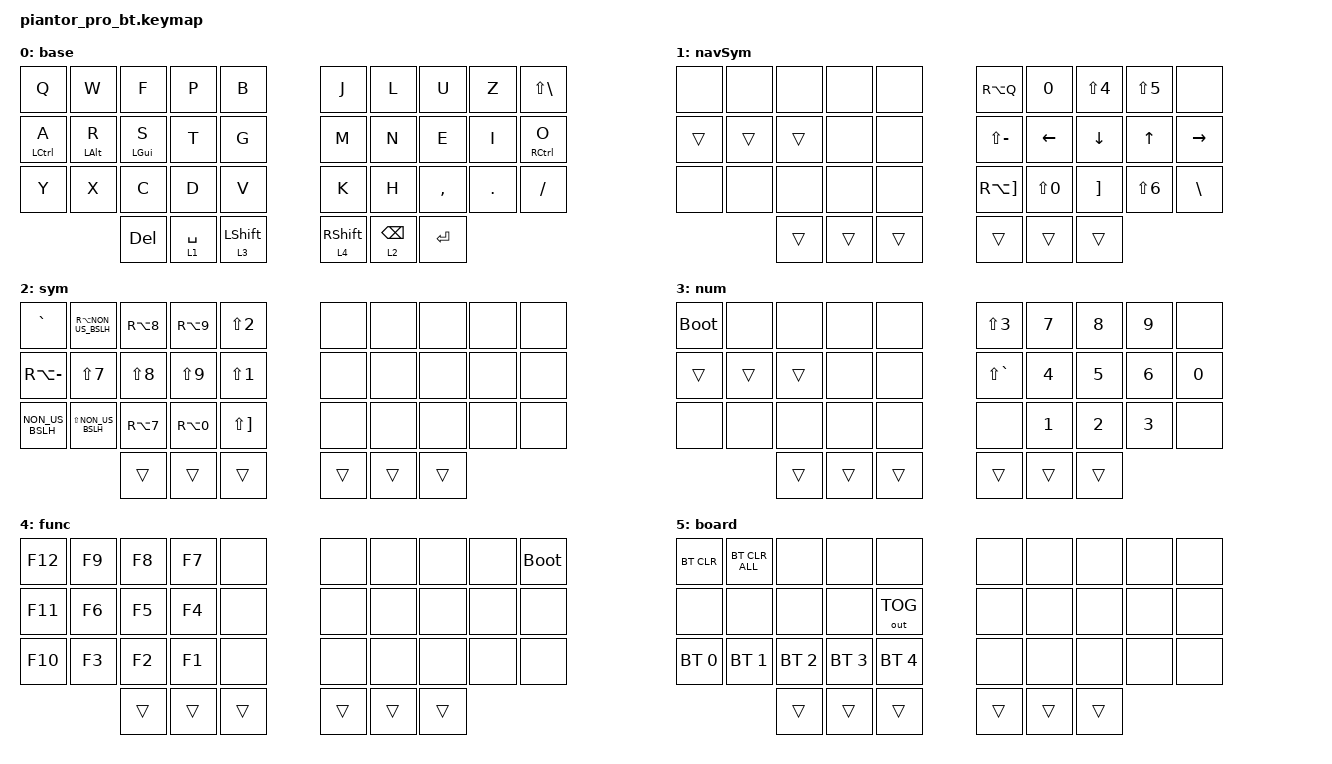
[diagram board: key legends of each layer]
/*
 * Copyright (c) 2020 The ZMK Contributors
 *
 * SPDX-License-Identifier: MIT
 */

#include <behaviors.dtsi>

#include <dt-bindings/zmk/bt.h>
#include <dt-bindings/zmk/keys.h>
#include <dt-bindings/zmk/outputs.h>

// Note: This is a keymap for a German layout
// The key codes are based on US ANSI, ZMK default

// Layer IDs
#define LAYER_Base 0
#define LAYER_NavSym 1
#define LAYER_Sym 2
#define LAYER_Num 3
#define LAYER_Func 4
#define LAYER_Board 5

#define xxx &none
#define ___ &trans

// Behaviors
/ {
    chosen { zmk,physical-layout = &five_col_layout; };

    behaviors {

        // Home row mods 
        hrm: hrm {
            compatible = "zmk,behavior-hold-tap";
            #binding-cells = <2>;
            tapping-term-ms = <280>;
            bindings = <&kp>, <&kp>;
            flavor = "balanced";
            quick-tap-ms = <175>;
            require-prior-idle-ms = <150>;
            hold-trigger-on-release;
        };

        // Layer and tap 
        lat: lat {
            compatible = "zmk,behavior-hold-tap";
            #binding-cells = <2>;
            tapping-term-ms = <200>;
            bindings = <&mo>, <&kp>;
            flavor = "tap-preferred";
            quick-tap-ms = <200>;
        };

        // Layer and sticky key 
        lask: lask {
            compatible = "zmk,behavior-hold-tap";
            #binding-cells = <2>;
            tapping-term-ms = <200>;
            bindings = <&mo>, <&sk>;
            flavor = "tap-preferred";
        };
    };
};

// ----------------------------------------------------------------------------
// |   0  |   1  |   2  |   3  |   4  |   |   5  |   6  |   7  |   8  |   9  |
// |  10  |  11  |  12  |  13  |  14  |   |  15  |  16  |  17  |  18  |  19  |
// |  20  |  21  |  22  |  23  |  24  |   |  25  |  26  |  27  |  28  |  29  |
//                     | 30 | 31 | 32 |   | 33 | 34 | 35 |

// Combos
/ {
      combos {
        compatible = "zmk,combos";
                  
        combo_umls {
            key-positions = <2 3>;
            bindings = <&kp MINUS>;
            layers = <0>;
        };

        combo_umlu {
            key-positions = <6 7>;
            bindings = <&kp LBKT>;
            layers = <0>;
        };

        combo_esc {
            key-positions = <22 23>;
            bindings = <&kp ESC>;
            require-prior-idle-ms = <150>;
            layers = <0>;
        };

        combo_board {
            key-positions = <30 31>;
            bindings = <&mo 5>;
            require-prior-idle-ms = <150>;
            layers = <0>;
        };

        combo_scrnsht {
            key-positions = <0 1>;
            bindings = <&kp LC(LA(N4))>;
            require-prior-idle-ms = <150>;
            layers = <0>;
        };

        combo_tab {
            key-positions = <21 22>;
            bindings = <&kp TAB>;
            require-prior-idle-ms = <150>;
            layers = <0>;
        };

        combo_umla {
            key-positions = <1 2>;
            bindings = <&kp SQT>;
            layers = <0>;
        };

        combo_umlo {
            key-positions = <7 8>;
            bindings = <&kp SEMI>;
            layers = <0>;
        };

        combo_capsWord {
            key-positions = <32 33>;
            bindings = <&caps_word>;
            layers = <0>;
        };

        combo_quote {
            key-positions = <27 28>;
            bindings = <&kp LS(N2)>;
            layers = <0>;
        };

        combo_question {
            key-positions = <26 28>;
            bindings = <&kp LS(MINUS)>;
            layers = <0>;
        };

        combo_exclamation {
            key-positions = <21 23>;
            bindings = <&kp LS(N1)>;
            layers = <0>;
        };

      };
    };

&sk {
    quick-release;
};

/ {
    keymap {
      compatible = "zmk,keymap";

      layer_Base {
         display-name = "base";
// --------------------------------------------------------------------
// |  Q  |  W  |  F  |  P  |  B  |   |  J  |  L  |  U  |  Y  |  '  |
// |  A  |  R  |  S  |  T  |  G  |   |  M  |  N  |  E  |  I  |  O  |
// |  Z  |  X  |  C  |  D  |  V  |   |  K  |  H  |  ,  |  .  |  -  |
//                 | DEL | SPC | LSH |     | RSH | BKS  | ENT |
   bindings = <
   //╭──────────────┬──────────────┬──────────────┬──────────────┬──────────────╮     ╭──────────────┬──────────────┬──────────────┬──────────────┬──────────────╮
      &kp Q          &kp W          &kp F          &kp P          &kp B                &kp J          &kp L          &kp U          &kp Z          &kp LS(BSLH)
   //├──────────────┼──────────────┼──────────────┼──────────────┼──────────────┤     ├──────────────┼──────────────┼──────────────┼──────────────┼──────────────┤
      &hrm LCTRL A   &hrm LALT R    &hrm LGUI S    &kp T          &kp G                &kp M          &kp N          &kp E          &kp I          &hrm RCTRL O
   //├──────────────┼──────────────┼──────────────┼──────────────┼──────────────┤     ├──────────────┼──────────────┼──────────────┼──────────────┼──────────────┤
      &kp Y          &kp X          &kp C          &kp D          &kp V                &kp K          &kp H          &kp COMMA      &kp DOT        &kp FSLH
   //╰──────────────┴──────────────┼──────────────┼──────────────┼──────────────┤     ├──────────────┼──────────────┼──────────────┼──────────────┴──────────────╯
                                    &kp DEL        &lat 1 SPACE   &lask 3 LSHFT        &lask 4 RSHFT  &lat 2 BSPC    &kp RET
   //                              ╰──────────────┴──────────────┴──────────────╯     ╰──────────────┴──────────────┴──────────────╯
   >;
    };

      layer_NavSym {
         display-name = "navSym";
// --------------------------------------------------------------------
// |  x  |  x  |  x  |  x  |  x  |   |  @  |   0  |   $  |  %  |   x   |
// |  -  |  -  |  -  |  x  |  x  |   |  ?  | left | down |  up | right |
// |  x  |  x  |  x  |  x  |  x  |   |  ~  |   =  |   +  |  &  |   #   |
//                   | - | - | - |   | - | - | - |
   bindings = <
   //╭──────────────┬──────────────┬──────────────┬──────────────┬──────────────╮     ╭──────────────┬──────────────┬──────────────┬──────────────┬──────────────╮
      xxx            xxx            xxx            xxx            xxx                  &kp RA(Q)      &kp N0         &kp LS(N4)     &kp LS(N5)     xxx
   //├──────────────┼──────────────┼──────────────┼──────────────┼──────────────┤     ├──────────────┼──────────────┼──────────────┼──────────────┼──────────────┤
      ___            ___            ___            xxx            xxx                  &kp LS(MINUS)  &kp LEFT       &kp DOWN       &kp UP         &kp RIGHT
   //├──────────────┼──────────────┼──────────────┼──────────────┼──────────────┤     ├──────────────┼──────────────┼──────────────┼──────────────┼──────────────┤
      xxx            xxx            xxx            xxx            xxx                  &kp RA(RBKT)   &kp LS(N0)     &kp RBKT       &kp LS(N6)     &kp BSLH
   //╰──────────────┴──────────────┼──────────────┼──────────────┼──────────────┤     ├──────────────┼──────────────┼──────────────┼──────────────┴──────────────╯
                                    ___            ___            ___                  ___            ___            ___
   //                              ╰──────────────┴──────────────┴──────────────╯     ╰──────────────┴──────────────┴──────────────╯
   >;
    };

      layer_Sym {
         display-name = "sym";
// --------------------------------------------------------------------
// |  ^  |  |  |  [  |  ]  |  "  |   |  x  |  x  |  x  |  x  |  x  |
// |  \  |  /  |  (  |  )  |  !  |   |  x  |  x  |  x  |  x  |  x  |
// |  <  |  >  |  {  |  }  |  *  |   |  x  |  x  |  x  |  x  |  x  |
//                   | - | - | - |   | - | - | - |
   bindings = <
   //╭──────────────┬──────────────┬──────────────┬──────────────┬──────────────╮     ╭──────────────┬──────────────┬──────────────┬──────────────┬──────────────╮
      &kp GRAVE      &kp RA(NON_US_BSLH) &kp RA(N8) &kp RA(N9)    &kp LS(N2)           xxx            xxx            xxx            xxx            xxx 
   //├──────────────┼──────────────┼──────────────┼──────────────┼──────────────┤     ├──────────────┼──────────────┼──────────────┼──────────────┼──────────────┤
      &kp RA(MINUS)  &kp LS(N7)     &kp LS(N8)     &kp LS(N9)     &kp LS(N1)           xxx            xxx            xxx            xxx            xxx
   //├──────────────┼──────────────┼──────────────┼──────────────┼──────────────┤     ├──────────────┼──────────────┼──────────────┼──────────────┼──────────────┤
      &kp NON_US_BSLH &kp LS(NON_US_BSLH) &kp RA(N7) &kp RA(N0)   &kp LS(RBKT)         xxx            xxx            xxx            xxx            xxx
   //╰──────────────┴──────────────┼──────────────┼──────────────┼──────────────┤     ├──────────────┼──────────────┼──────────────┼──────────────┴──────────────╯
                                    ___            ___            ___                  ___            ___            ___
   //                              ╰──────────────┴──────────────┴──────────────╯     ╰──────────────┴──────────────┴──────────────╯
   >;
    };

      layer_Num {
         display-name = "num";
// --------------------------------------------------------------------
// |  x  |  x  |  x  |  x  |  x  |   |  §  |  7  |  8  |  9  |  x  |
// |  -  |  -  |  -  |  x  |  x  |   |  °  |  4  |  5  |  6  |  0  |
// |  x  |  x  |  x  |  x  |  x  |   |  x  |  1  |  2  |  3  |  x  |
//                   | - | - | - |   | - | - | - |
   bindings = <
   //╭──────────────┬──────────────┬──────────────┬──────────────┬──────────────╮     ╭──────────────┬──────────────┬──────────────┬──────────────┬──────────────╮
      &bootloader    xxx            xxx            xxx            xxx                  &kp LS(N3)     &kp N7         &kp N8         &kp N9         xxx
   //├──────────────┼──────────────┼──────────────┼──────────────┼──────────────┤     ├──────────────┼──────────────┼──────────────┼──────────────┼──────────────┤
      ___            ___            ___            xxx            xxx                  &kp LS(GRAVE)  &kp N4         &kp N5         &kp N6         &kp N0
   //├──────────────┼──────────────┼──────────────┼──────────────┼──────────────┤     ├──────────────┼──────────────┼──────────────┼──────────────┼──────────────┤
      xxx            xxx            xxx            xxx            xxx                  xxx            &kp N1         &kp N2         &kp N3         xxx 
   //╰──────────────┴──────────────┼──────────────┼──────────────┼──────────────┤     ├──────────────┼──────────────┼──────────────┼──────────────┴──────────────╯
                                    ___            ___            ___                  ___            ___            ___
   //                              ╰──────────────┴──────────────┴──────────────╯     ╰──────────────┴──────────────┴──────────────╯
   >;
    };

      layer_Func {
         display-name = "func";
   bindings = <
   //╭──────────────┬──────────────┬──────────────┬──────────────┬──────────────╮     ╭──────────────┬──────────────┬──────────────┬──────────────┬──────────────╮
      &kp F12        &kp F9         &kp F8         &kp F7         xxx                  xxx            xxx            xxx            xxx            &bootloader 
   //├──────────────┼──────────────┼──────────────┼──────────────┼──────────────┤     ├──────────────┼──────────────┼──────────────┼──────────────┼──────────────┤
      &kp F11        &kp F6         &kp F5         &kp F4         xxx                  xxx            xxx            xxx            xxx            xxx
   //├──────────────┼──────────────┼──────────────┼──────────────┼──────────────┤     ├──────────────┼──────────────┼──────────────┼──────────────┼──────────────┤
      &kp F10        &kp F3         &kp F2         &kp F1         xxx                  xxx            xxx            xxx            xxx            xxx
   //╰──────────────┴──────────────┼──────────────┼──────────────┼──────────────┤     ├──────────────┼──────────────┼──────────────┼──────────────┴──────────────╯
                                    ___            ___            ___                  ___            ___            ___
   //                              ╰──────────────┴──────────────┴──────────────╯     ╰──────────────┴──────────────┴──────────────╯
   >;
    };

      layer_Board {
         display-name = "board";
   bindings = <
   //╭──────────────┬──────────────┬──────────────┬──────────────┬──────────────╮     ╭──────────────┬──────────────┬──────────────┬──────────────┬──────────────╮
      &bt BT_CLR     &bt BT_CLR_ALL xxx            xxx            xxx                  xxx            xxx            xxx            xxx            xxx 
   //├──────────────┼──────────────┼──────────────┼──────────────┼──────────────┤     ├──────────────┼──────────────┼──────────────┼──────────────┼──────────────┤
      xxx            xxx            xxx            xxx            &out OUT_TOG         xxx            xxx            xxx            xxx            xxx
   //├──────────────┼──────────────┼──────────────┼──────────────┼──────────────┤     ├──────────────┼──────────────┼──────────────┼──────────────┼──────────────┤
      &bt BT_SEL 0   &bt BT_SEL 1   &bt BT_SEL 2   &bt BT_SEL 3   &bt BT_SEL 4         xxx            xxx            xxx            xxx            xxx
   //╰──────────────┴──────────────┼──────────────┼──────────────┼──────────────┤     ├──────────────┼──────────────┼──────────────┼──────────────┴──────────────╯
                                    ___            ___            ___                  ___            ___            ___
   //                              ╰──────────────┴──────────────┴──────────────╯     ╰──────────────┴──────────────┴──────────────╯
   >;
    };

  };
};
